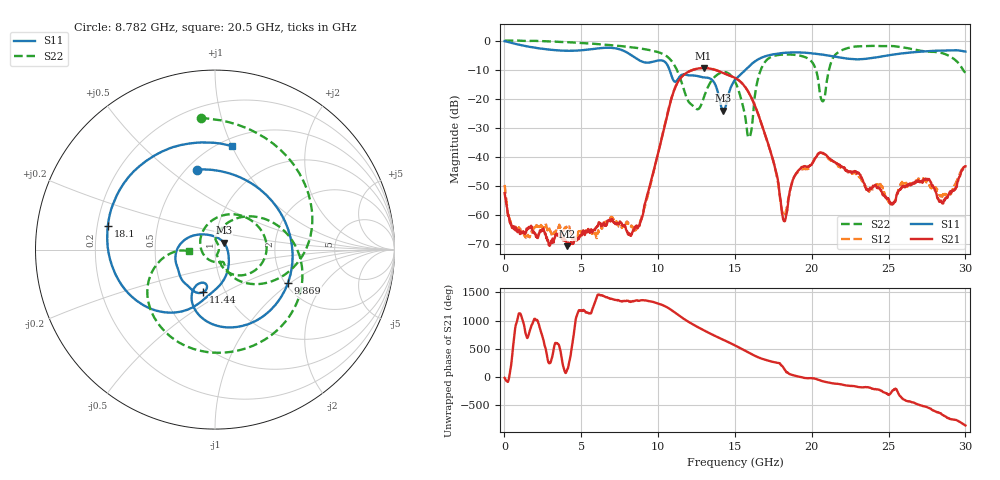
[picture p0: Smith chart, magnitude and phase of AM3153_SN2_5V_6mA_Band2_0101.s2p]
!Agilent Technologies,E8364B,MY43040894,A.07.50.67
!Agilent E8364B: A.07.50.67
!Date: Tuesday, May 12, 2020 09:50:50
!Correction: S11(Full 2 Port(1,2))
!S21(Full 2 Port(1,2))
!S12(Full 2 Port(1,2))
!S22(Full 2 Port(1,2))
!S2P File: Measurements: S11, S21, S12, S22:
# Hz S  dB  R 50
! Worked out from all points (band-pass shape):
!   1601 points, 10 MHz to 30 GHz, reference 50 ohm
!   highest |S21| = -9.43 dB at 12.96 GHz (marker M1); lowest = -70.8 dB at 4.096 GHz (marker M2)
!   |S21| within 3 dB of the highest: 11.54 GHz to 14.85 GHz (3.302 GHz wide, 25 % of centre)
!   lowest |S11| = -24.1 dB at 14.26 GHz (marker M3), VSWR 1.13, Z = 55 + j4.28 ohm
!   |S11| at or under -10 dB: 10.74 GHz to 15.69 GHz (4.955 GHz wide, 37.5 % of centre)
!   |S22| runs from -33.4 to 0.1 dB; largest |S21 - S12| = 0.0066
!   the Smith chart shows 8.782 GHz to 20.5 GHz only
!   S11 on the Smith chart (normalised r, x): 8.782 GHz: 0.56, +0.63; 9.869 GHz: 2.08, -0.95; 11.44 GHz: 0.79, -0.40; 18.1 GHz: 0.24, +0.10; 20.5 GHz: 0.57, +1.00
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1e7  -0.19 -6.4  -52.52 -15.9  -49.72 -52.4  0.01 -1.7
9.471875e8  -1.41 -81.2  -65.19 47.2  -64.46 -24.9  0.00 -28.1
2.090556e9  -2.54 -157.5  -67.57 -72.3  -63.54 -62.1  -0.10 -62.1
4.096138e9  -3.50 91.3  -70.81 139.1  -63.79 -7.4  -0.54 -119.9
5.014581e9  -3.32 38.9  -67.12 97.7  -66.52 138.5  -0.82 -146.1
6.945188e9  -2.48 -88.4  -61.82 -54.8  -60.74 -60.9  -1.57 157.8
7.882375e9  -3.82 -165.3  -64.32 -93.3  -63.26 -142.8  -2.04 127.9
8.782075e9  -6.80 102.7  -63.78 -89.0  -63.67 -115.8  -2.65 96.3
9.869212e9  -7.00 -24.3  -41.51 -126.9  -41.64 -126.7  -3.76 48.9
1.001916e10  -6.84 -40.4  -38.38 -140.0  -38.30 -140.1  -4.00 41.1
1.144369e10  -12.15 -105.5  -13.04 -8.3  -13.01 -8.8  -13.01 -51.7
1.296193e10  -12.66 -152.6  -9.43 108.6  -9.36 108.2  -19.80 141.8
1.425525e10  -24.08 38.3  -11.20 -63.6  -11.18 -64.7  -10.82 8.3
1.5005e10  -13.60 -85.2  -12.84 -161.0  -12.85 -161.9  -14.08 -46.6
1.594219e10  -8.72 -114.3  -18.32 63.3  -18.29 62.3  -33.32 2.2
1.671068e10  -5.93 -142.3  -28.37 -32.7  -28.34 -34.2  -9.70 31.3
1.809772e10  -4.27 167.7  -60.18 -173.3  -59.35 179.0  -4.81 -63.9
2.000958e10  -4.38 99.6  -42.61 -22.3  -42.42 -20.3  -7.31 -150.7
2.049692e10  -4.68 80.5  -38.71 -55.8  -38.66 -55.0  -16.83 -175.9
2.192144e10  -5.89 16.4  -43.44 -132.7  -43.87 -132.7  -3.40 -123.8
2.501416e10  -5.05 -139.8  -54.68 40.9  -55.66 56.8  -1.86 134.1
3e10  -3.76 75.1  -43.28 -139.1  -44.94 -125.5  -11.05 -10.8
